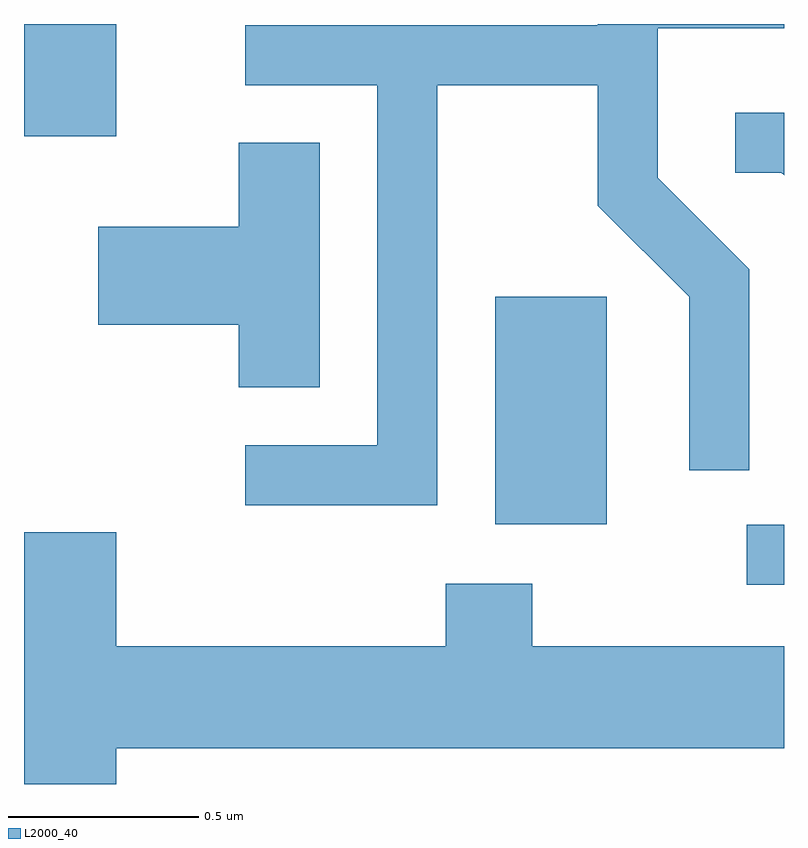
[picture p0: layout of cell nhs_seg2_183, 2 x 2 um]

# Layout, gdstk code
import gdstk
lib = gdstk.Library(unit=1e-6, precision=1e-09)
def R(c, l, rs):  # rectangles x0, y0, x1, y1
    for r in rs: c.add(gdstk.rectangle(r[:2], r[2:], *l))
def P(c, l, *ps):  # polygons
    for p in ps: c.add(gdstk.Polygon(p, *l))
L2000_40 = (2000, 40)

nhs_seg2_183 = lib.new_cell('nhs_seg2_183')
R(nhs_seg2_183, L2000_40, [(188.513,1024.326,188.611,1024.484), (187.851,1024.486,188.144,1025.084), (186.611,1025.506,186.854,1025.802)])
P(nhs_seg2_183, L2000_40, [(187.699,1025.641),(188.121,1025.641),(188.121,1025.324),(188.361,1025.084),(188.361,1024.628),(188.519,1024.628),(188.519,1025.157),(188.279,1025.397),(188.279,1025.791),(188.611,1025.791),(188.611,1025.802),(188.121,1025.802),(188.121,1025.799),(187.193,1025.799),(187.193,1025.641),(187.541,1025.641),(187.541,1024.694),(187.193,1024.694),(187.193,1024.536),(187.699,1024.536)],
  [(188.611,1025.569),(188.483,1025.569),(188.483,1025.411),(188.604,1025.411),(188.611,1025.404)],
  [(187.389,1025.489),(187.176,1025.489),(187.176,1025.269),(186.806,1025.269),(186.806,1025.011),(187.176,1025.011),(187.176,1024.846),(187.389,1024.846)],
  [(186.854,1023.896),(188.611,1023.896),(188.611,1024.164),(187.949,1024.164),(187.949,1024.329),(187.721,1024.329),(187.721,1024.164),(186.854,1024.164),(186.854,1024.464),(186.611,1024.464),(186.611,1023.802),(186.854,1023.802)])

lib.write_gds('nhs_seg2_183.gds')
